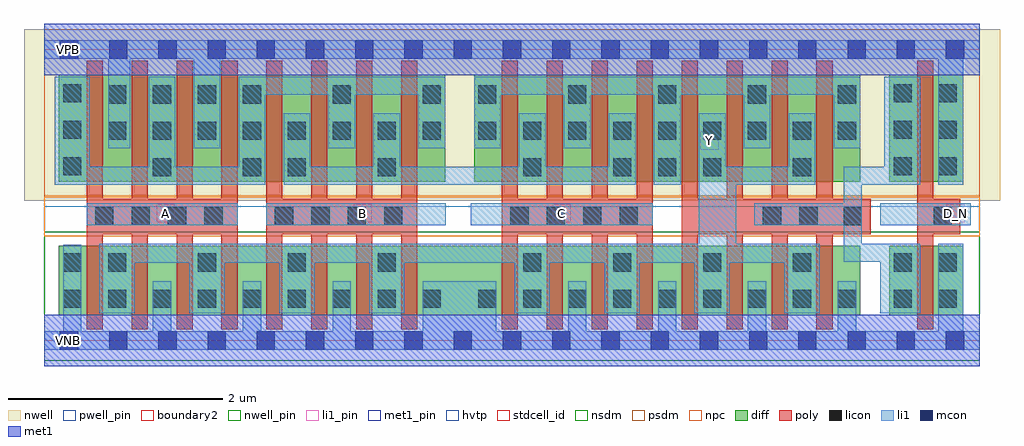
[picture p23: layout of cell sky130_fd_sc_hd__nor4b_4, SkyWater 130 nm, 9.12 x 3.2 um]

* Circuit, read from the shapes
.subckt sky130_fd_sc_hd__nor4b_4 A B C D_N VGND VNB VPB VPWR Y
XM1 Y A VGND VNB sky130_fd_pr__nfet_01v8 w=0.65 l=0.15 m=4
XM2 Y B VGND VNB sky130_fd_pr__nfet_01v8 w=0.65 l=0.15 m=4
XM3 Y C VGND VNB sky130_fd_pr__nfet_01v8 w=0.65 l=0.15 m=4
XM4 Y n1 VGND VNB sky130_fd_pr__nfet_01v8 w=0.65 l=0.15 m=4
XM5 VGND D_N n1 VNB sky130_fd_pr__nfet_01v8 w=0.65 l=0.15
XM6 VPWR A n2 VPB sky130_fd_pr__pfet_01v8_hvt w=1 l=0.15 m=4
XM7 n3 B n2 VPB sky130_fd_pr__pfet_01v8_hvt w=1 l=0.15 m=4
XM8 n3 C n4 VPB sky130_fd_pr__pfet_01v8_hvt w=1 l=0.15 m=4
XM9 Y n1 n4 VPB sky130_fd_pr__pfet_01v8_hvt w=1 l=0.15 m=4
XM10 VPWR D_N n1 VPB sky130_fd_pr__pfet_01v8_hvt w=1 l=0.15
.ends

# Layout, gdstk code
import gdstk
lib = gdstk.Library(unit=1e-6, precision=1e-09)
def R(c, l, rs):  # rectangles x0, y0, x1, y1
    for r in rs: c.add(gdstk.rectangle(r[:2], r[2:], *l))
def A(c, l, x, y, w, h, nx, ny, dx, dy):  # array of equal rectangles
    R(c, l, [(x+i*dx, y+j*dy, x+i*dx+w, y+j*dy+h) for i in range(nx) for j in range(ny)])
def P(c, l, *ps):  # polygons
    for p in ps: c.add(gdstk.Polygon(p, *l))
nwell_pin = (64, 16)
nwell = (64, 20)
diff = (65, 20)
poly = (66, 20)
licon = (66, 44)
li1_pin = (67, 16)
li1 = (67, 20)
mcon = (67, 44)
met1_pin = (68, 16)
met1 = (68, 20)
hvtp = (78, 44)
stdcell_id = (81, 4)
nsdm = (93, 44)
psdm = (94, 20)
npc = (95, 20)
pwell_pin = (122, 16)
boundary2 = (236, 0)

sky130_fd_sc_hd__nor4b_4 = lib.new_cell('sky130_fd_sc_hd__nor4b_4')
R(sky130_fd_sc_hd__nor4b_4, nwell_pin, [(0.145,2.635,0.315,2.805)])
R(sky130_fd_sc_hd__nor4b_4, nwell, [(-0.19,1.305,8.93,2.91)])
R(sky130_fd_sc_hd__nor4b_4, diff, [(0.135,0.235,7.625,0.885), (7.895,0.235,8.585,0.885), (0.135,1.485,3.745,2.485), (4.015,1.485,7.625,2.485), (7.895,1.485,8.585,2.485)])
P(sky130_fd_sc_hd__nor4b_4, poly, [(0.395,0.105),(0.395,2.615),(0.545,2.615),(0.545,1.325),(0.815,1.325),(0.815,2.615),(0.965,2.615),(0.965,1.325),(1.235,1.325),(1.235,2.615),(1.385,2.615),(1.385,1.325),(1.655,1.325),(1.655,2.615),(1.805,2.615),(1.805,0.105),(1.655,0.105),(1.655,0.995),(1.385,0.995),(1.385,0.105),(1.235,0.105),(1.235,0.995),(0.965,0.995),(0.965,0.105),(0.815,0.105),(0.815,0.995),(0.545,0.995),(0.545,0.105)],
  [(5.955,0.105),(5.955,2.615),(6.105,2.615),(6.105,1.325),(6.375,1.325),(6.375,2.615),(6.525,2.615),(6.525,1.325),(6.795,1.325),(6.795,2.615),(6.945,2.615),(6.945,1.325),(7.215,1.325),(7.215,2.615),(7.365,2.615),(7.365,1.325),(7.72,1.325),(7.72,0.995),(7.365,0.995),(7.365,0.105),(7.215,0.105),(7.215,0.995),(6.945,0.995),(6.945,0.105),(6.795,0.105),(6.795,0.995),(6.525,0.995),(6.525,0.105),(6.375,0.105),(6.375,0.995),(6.105,0.995),(6.105,0.105)],
  [(8.155,0.105),(8.155,2.615),(8.305,2.615),(8.305,1.325),(8.56,1.325),(8.56,0.995),(8.305,0.995),(8.305,0.105)],
  [(4.275,0.105),(4.275,2.615),(4.425,2.615),(4.425,1.325),(4.695,1.325),(4.695,2.615),(4.845,2.615),(4.845,1.325),(5.115,1.325),(5.115,2.615),(5.265,2.615),(5.265,1.325),(5.535,1.325),(5.535,2.615),(5.685,2.615),(5.685,0.105),(5.535,0.105),(5.535,0.995),(5.265,0.995),(5.265,0.105),(5.115,0.105),(5.115,0.995),(4.845,0.995),(4.845,0.105),(4.695,0.105),(4.695,0.995),(4.425,0.995),(4.425,0.105)],
  [(2.075,0.105),(2.075,2.615),(2.225,2.615),(2.225,1.325),(2.495,1.325),(2.495,2.615),(2.645,2.615),(2.645,1.325),(2.915,1.325),(2.915,2.615),(3.065,2.615),(3.065,1.325),(3.335,1.325),(3.335,2.615),(3.485,2.615),(3.485,0.105),(3.335,0.105),(3.335,0.995),(3.065,0.995),(3.065,0.105),(2.915,0.105),(2.915,0.995),(2.645,0.995),(2.645,0.105),(2.495,0.105),(2.495,0.995),(2.225,0.995),(2.225,0.105)])
A(sky130_fd_sc_hd__nor4b_4, licon, 0.175, 0.305, 0.17, 0.17, 9, 1, 0.42, 0)
A(sky130_fd_sc_hd__nor4b_4, licon, 4.055, 0.305, 0.17, 0.17, 9, 2, 0.42, 1.57)
A(sky130_fd_sc_hd__nor4b_4, licon, 0.595, 0.645, 0.17, 0.17, 4, 1, 0.84, 0)
A(sky130_fd_sc_hd__nor4b_4, licon, 4.475, 0.645, 0.17, 0.17, 4, 1, 0.84, 0)
A(sky130_fd_sc_hd__nor4b_4, licon, 0.475, 1.075, 0.17, 0.17, 4, 1, 0.34, 0)
A(sky130_fd_sc_hd__nor4b_4, licon, 2.155, 1.075, 0.17, 0.17, 4, 1, 0.34, 0)
A(sky130_fd_sc_hd__nor4b_4, licon, 4.355, 1.075, 0.17, 0.17, 4, 1, 0.34, 0)
A(sky130_fd_sc_hd__nor4b_4, licon, 5.315, 1.535, 0.17, 0.17, 3, 1, 0.42, 0)
A(sky130_fd_sc_hd__nor4b_4, licon, 0.175, 1.545, 0.17, 0.17, 1, 3, 0, 0.34)
A(sky130_fd_sc_hd__nor4b_4, licon, 7.935, 1.545, 0.17, 0.17, 1, 3, 0, 0.34)
A(sky130_fd_sc_hd__nor4b_4, licon, 8.355, 1.545, 0.17, 0.17, 1, 3, 0, 0.34)
A(sky130_fd_sc_hd__nor4b_4, licon, 0.595, 1.875, 0.17, 0.17, 8, 1, 0.42, 0)
A(sky130_fd_sc_hd__nor4b_4, licon, 0.595, 2.215, 0.17, 0.17, 4, 1, 0.42, 0)
A(sky130_fd_sc_hd__nor4b_4, licon, 4.055, 2.215, 0.17, 0.17, 5, 1, 0.84, 0)
R(sky130_fd_sc_hd__nor4b_4, licon, [(7.935,0.305,8.105,0.475), (8.355,0.305,8.525,0.475), (0.175,0.645,0.345,0.815), (7.935,0.645,8.105,0.815), (8.355,0.645,8.525,0.815), (6.715,1.075,6.885,1.245), (7.055,1.075,7.225,1.245), (7.47,1.075,7.64,1.245), (8.31,1.075,8.48,1.245), (1.015,1.535,1.185,1.705), (1.855,1.535,2.025,1.705), (2.275,1.535,2.445,1.705), (3.115,1.535,3.285,1.705), (4.475,1.535,4.645,1.705), (6.995,1.535,7.165,1.705), (2.695,2.215,2.865,2.385), (3.535,2.215,3.705,2.385)])
R(sky130_fd_sc_hd__nor4b_4, li1_pin, [(1.05,1.105,1.22,1.275), (2.89,1.105,3.06,1.275), (4.75,1.105,4.92,1.275), (8.43,1.105,8.6,1.275), (6.13,1.785,6.3,1.955)])
R(sky130_fd_sc_hd__nor4b_4, li1, [(0.395,1.075,1.805,1.285), (2.075,1.075,3.75,1.285), (3.985,1.075,5.685,1.285), (7.81,1.075,8.655,1.285)])
P(sky130_fd_sc_hd__nor4b_4, li1, [(0,-0.085),(0,0.085),(0.175,0.085),(0.175,0.895),(0.345,0.895),(0.345,0.085),(1.015,0.085),(1.015,0.555),(1.185,0.555),(1.185,0.085),(1.855,0.085),(1.855,0.555),(2.025,0.555),(2.025,0.085),(2.695,0.085),(2.695,0.555),(2.865,0.555),(2.865,0.085),(3.535,0.085),(3.535,0.555),(4.225,0.555),(4.225,0.085),(4.895,0.085),(4.895,0.555),(5.065,0.555),(5.065,0.085),(5.735,0.085),(5.735,0.555),(5.905,0.555),(5.905,0.085),(6.575,0.085),(6.575,0.555),(6.745,0.555),(6.745,0.085),(7.415,0.085),(7.415,0.555),(7.585,0.555),(7.585,0.085),(8.355,0.085),(8.355,0.905),(8.585,0.905),(8.585,0.085),(8.74,0.085),(8.74,-0.085)],
  [(8.355,1.455),(8.355,2.635),(1.645,2.635),(1.645,1.795),(1.395,1.795),(1.395,2.635),(0.805,2.635),(0.805,1.795),(0.595,1.795),(0.595,2.635),(0,2.635),(0,2.805),(8.74,2.805),(8.74,2.635),(8.585,2.635),(8.585,1.455)],
  [(0.095,1.455),(0.095,2.465),(0.425,2.465),(0.425,1.625),(0.975,1.625),(0.975,2.465),(1.225,2.465),(1.225,1.625),(1.815,1.625),(1.815,2.465),(3.745,2.465),(3.745,1.795),(3.495,1.795),(3.495,2.295),(2.905,2.295),(2.905,1.795),(2.655,1.795),(2.655,2.295),(2.065,2.295),(2.065,1.455)],
  [(2.235,1.455),(2.235,2.125),(2.485,2.125),(2.485,1.625),(3.075,1.625),(3.075,2.125),(3.325,2.125),(3.325,1.625),(4.435,1.625),(4.435,2.125),(4.685,2.125),(4.685,1.625),(5.275,1.625),(5.275,2.125),(5.525,2.125),(5.525,1.455)],
  [(0.515,0.255),(0.515,0.905),(6.115,0.905),(6.115,2.125),(6.365,2.125),(6.365,1.625),(6.955,1.625),(6.955,2.125),(7.205,2.125),(7.205,1.455),(6.465,1.455),(6.465,0.905),(7.245,0.905),(7.245,0.255),(6.915,0.255),(6.915,0.725),(6.405,0.725),(6.405,0.255),(6.075,0.255),(6.075,0.725),(5.565,0.725),(5.565,0.255),(5.235,0.255),(5.235,0.725),(4.725,0.725),(4.725,0.255),(4.395,0.255),(4.395,0.725),(3.365,0.725),(3.365,0.255),(3.035,0.255),(3.035,0.725),(2.525,0.725),(2.525,0.255),(2.195,0.255),(2.195,0.725),(1.685,0.725),(1.685,0.255),(1.355,0.255),(1.355,0.725),(0.845,0.725),(0.845,0.255)],
  [(5.695,1.455),(5.695,2.295),(5.105,2.295),(5.105,1.795),(4.855,1.795),(4.855,2.295),(4.265,2.295),(4.265,1.795),(4.015,1.795),(4.015,2.465),(7.625,2.465),(7.625,1.795),(7.375,1.795),(7.375,2.295),(6.785,2.295),(6.785,1.795),(6.535,1.795),(6.535,2.295),(5.945,2.295),(5.945,1.455)],
  [(7.81,0.255),(7.81,0.735),(7.47,0.735),(7.47,1.075),(6.635,1.075),(6.635,1.285),(7.47,1.285),(7.47,1.625),(7.85,1.625),(7.85,2.465),(8.185,2.465),(8.185,1.455),(7.64,1.455),(7.64,0.905),(8.185,0.905),(8.185,0.255)])
A(sky130_fd_sc_hd__nor4b_4, mcon, 0.145, -0.085, 0.17, 0.17, 19, 2, 0.46, 2.72)
R(sky130_fd_sc_hd__nor4b_4, met1_pin, [(0.145,-0.085,0.315,0.085), (0.145,2.635,0.315,2.805)])
R(sky130_fd_sc_hd__nor4b_4, hvtp, [(0,1.25,8.74,2.72)])
R(sky130_fd_sc_hd__nor4b_4, stdcell_id, [(0,0,8.74,2.72)])
R(sky130_fd_sc_hd__nor4b_4, nsdm, [(0,-0.19,8.74,1.015)])
R(sky130_fd_sc_hd__nor4b_4, psdm, [(0,1.355,8.74,2.91)])
R(sky130_fd_sc_hd__nor4b_4, npc, [(0,0.975,8.74,1.345)])
R(sky130_fd_sc_hd__nor4b_4, pwell_pin, [(0.145,-0.085,0.315,0.085)])
R(sky130_fd_sc_hd__nor4b_4, boundary2, [(0,0,8.74,2.72)])
sky130_fd_sc_hd__nor4b_4.add(gdstk.FlexPath([(0,2.72),(8.74,2.72)], 0.48, ends="flush", simple_path=True, layer=68, datatype=20))  # met1
sky130_fd_sc_hd__nor4b_4.add(gdstk.FlexPath([(0,0),(8.74,0)], 0.48, ends="flush", simple_path=True, layer=68, datatype=20))  # met1
sky130_fd_sc_hd__nor4b_4.add(gdstk.Label('B', (2.975,1.19), layer=67, texttype=5))
sky130_fd_sc_hd__nor4b_4.add(gdstk.Label('A', (1.135,1.19), layer=67, texttype=5))
sky130_fd_sc_hd__nor4b_4.add(gdstk.Label('D_N', (8.51,1.19), layer=67, texttype=5))
sky130_fd_sc_hd__nor4b_4.add(gdstk.Label('C', (4.835,1.19), layer=67, texttype=5))
sky130_fd_sc_hd__nor4b_4.add(gdstk.Label('Y', (6.215,1.87), layer=67, texttype=5))
sky130_fd_sc_hd__nor4b_4.add(gdstk.Label('VNB', (0.23,0), layer=64, texttype=59))
sky130_fd_sc_hd__nor4b_4.add(gdstk.Label('VPB', (0.23,2.72), layer=64, texttype=5))
sky130_fd_sc_hd__nor4b_4.add(gdstk.Label('VGND', (0.245,0), layer=68, texttype=5))
sky130_fd_sc_hd__nor4b_4.add(gdstk.Label('VPWR', (0.23,2.72), layer=68, texttype=5))
sky130_fd_sc_hd__nor4b_4.add(gdstk.Label('nor4b_4', (0,0), layer=83, texttype=44))

lib.write_gds('sky130_fd_sc_hd__nor4b_4.gds')
